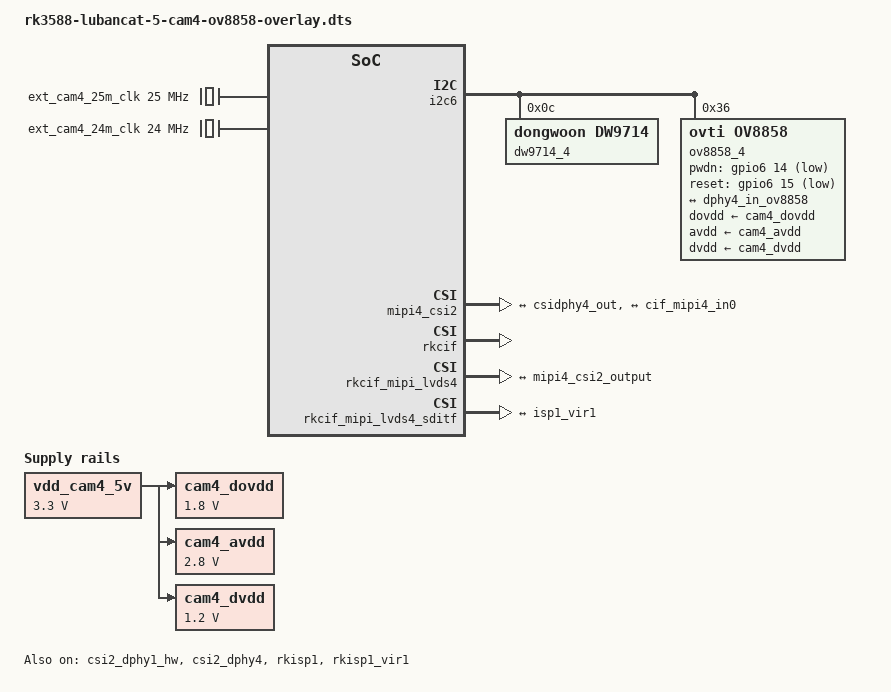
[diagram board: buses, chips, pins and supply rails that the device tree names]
/dts-v1/;
/plugin/;

#include <dt-bindings/usb/pd.h>
#include <dt-bindings/gpio/gpio.h>
#include <dt-bindings/pwm/pwm.h>
#include <dt-bindings/pinctrl/rockchip.h>
#include <dt-bindings/input/rk-input.h>
#include <dt-bindings/display/drm_mipi_dsi.h>
#include <dt-bindings/display/rockchip_vop.h>
#include <dt-bindings/sensor-dev.h>

/ {
	fragment@0 {
		target-path = "/";

		__overlay__ {
			ext_cam4_25m_clk: external-camera-25m-clock {
				compatible = "fixed-clock";
				clock-frequency = <25000000>;
				clock-output-names = "ext_cam4_25m_clk";
				#clock-cells = <0>;
			};

			ext_cam4_24m_clk: external-camera-24m-clock {
				compatible = "fixed-clock";
				#clock-cells = <0>;
				clock-frequency = <24000000>;
				clock-output-names = "ext_cam4_24m_clk";
			};

			vdd_cam4_5v: vdd-cam-5v-regulator {
				compatible = "regulator-fixed";
				regulator-name = "vdd_cam4_5v";
				regulator-always-on;
				regulator-boot-on;
				regulator-min-microvolt = <3300000>;
				regulator-max-microvolt = <3300000>;
			};

			cam4_dovdd: cam-dovdd {
				compatible = "regulator-fixed";
				regulator-name = "cam4_dovdd";
				regulator-always-on;
				regulator-boot-on;
				regulator-min-microvolt = <1800000>;
				regulator-max-microvolt = <1800000>;
				vin-supply = <&vdd_cam4_5v>;
			};

			cam4_avdd: cam-avdd {
				compatible = "regulator-fixed";
				regulator-name = "cam4_avdd";
				regulator-always-on;
				regulator-boot-on;
				regulator-min-microvolt = <2800000>;
				regulator-max-microvolt = <2800000>;
				vin-supply = <&vdd_cam4_5v>;
			};

			cam4_dvdd: cam-dvdd {
				compatible = "regulator-fixed";
				regulator-name = "cam4_dvdd";
				regulator-always-on;
				regulator-boot-on;
				regulator-min-microvolt = <1200000>;
				regulator-max-microvolt = <1200000>;
				vin-supply = <&vdd_cam4_5v>;
			};
		};
	};

/* Link path: sensor->csi2_dphy4->mipi4_csi2->rkcif_mipi_lvds4--->rkcif_mipi_lvds4_sditf->rkisp1_vir1 */
	fragment@1 {
		target = <&i2c6>;
		__overlay__ {
			status = "okay";
			pinctrl-names = "default";
			pinctrl-0 = <&i2c6m0_xfer>;
			#address-cells = <1>;
			#size-cells = <0>;

			dw9714_4: dw9714@c {
				status = "okay";
				compatible = "dongwoon,dw9714";
				reg = <0xc>;
				rockchip,camera-module-index = <0>;
				rockchip,vcm-max-current = <100>;
				rockchip,vcm-start-current = <0>;
				rockchip,vcm-rated-current = <100>;
				rockchip,vcm-step-mode = <0xd>;
				rockchip,vcm-dlc-enable = <0>;
				rockchip,vcm-mclk = <0>;	
				rockchip,vcm-t-src = <0>;
				rockchip,camera-module-facing = "back";
			};

			ov8858_4: ov8858@36 {
				compatible = "ovti,ov8858";
				status = "okay";
				reg = <0x36>;
				clocks = <&ext_cam4_24m_clk>;
				clock-names = "xvclk";
				dovdd-supply= <&cam4_dovdd>; /* 1.8v */
				avdd-supply = <&cam4_avdd>;  /* 2.8v */
				dvdd-supply = <&cam4_dvdd>;  /* 1.2v */
				pwdn-gpios = <&gpio6 14 GPIO_ACTIVE_LOW>;
				reset-gpios = <&gpio6 15 GPIO_ACTIVE_LOW>;
				rotation = <180>;

				rockchip,camera-module-index = <2>;
				rockchip,camera-module-facing = "back";
				rockchip,camera-module-name = "HS5885-BNSM1018-V01";
				rockchip,camera-module-lens-name = "default";
				lens-focus = <&dw9714_4>;

				port {
					/* MIPI CSI-2 bus endpoint */
					ov8858_out4: endpoint {
						remote-endpoint = <&dphy4_in_ov8858>;
						clock-lanes = <0>;
						data-lanes = <1 2>;
					};
				};
			};
		};
	};

	fragment@2 {
		target = <&csi2_dphy1_hw>;

		__overlay__ {
			status = "okay";
		};
	};


	fragment@3 {
		target = <&csi2_dphy4>;

		__overlay__ {
			status = "okay";
			ports {
				#address-cells = <1>;
				#size-cells = <0>;

				port@0 {
					reg = <0>;
					#address-cells = <1>;
					#size-cells = <0>;

					dphy4_in_ov8858: endpoint@2 {
						reg = <2>;
						remote-endpoint = <&ov8858_out4>;
						data-lanes = <1 2>;
					};
				};

				port@1 {
					reg = <1>;
					#address-cells = <1>;
					#size-cells = <0>;

					csidphy4_out: endpoint@0 {
						reg = <0>;
						remote-endpoint = <&mipi4_csi2_input>;
					};
				};
			};
		};
	};

	fragment@4 {
		target = <&mipi4_csi2>;

		__overlay__ {
			status = "okay";

			ports {
				#address-cells = <1>;
				#size-cells = <0>;

				port@0 {
					reg = <0>;
					#address-cells = <1>;
					#size-cells = <0>;

					mipi4_csi2_input: endpoint@1 {
						reg = <1>;
						remote-endpoint = <&csidphy4_out>;
					};
				};

				port@1 {
					reg = <1>;
					#address-cells = <1>;
					#size-cells = <0>;

					mipi4_csi2_output: endpoint@0 {
						reg = <0>;
						remote-endpoint = <&cif_mipi4_in0>;
					};
				};
			};
		};
	};

	fragment@5 {
		target = <&rkcif>;

		__overlay__ {
			status = "okay";
		};
	};

	fragment@6 {
		target = <&rkcif_mipi_lvds4>;

		__overlay__ {
			status = "okay";

			port {
				cif_mipi4_in0: endpoint {
					remote-endpoint = <&mipi4_csi2_output>;
				};
			};
		};
	};

	fragment@7 {
		target = <&rkcif_mipi_lvds4_sditf>;

		__overlay__ {
			status = "okay";

			port {
				mipi_lvds4_sditf: endpoint {
					remote-endpoint = <&isp1_vir1>;
				};
			};
		};
	};

	fragment@8 {
		target = <&rkcif_mmu>;

		__overlay__ {
			status = "okay";
		};
	};

	fragment@9 {
		target = <&rkisp1>;

		__overlay__ {
			status = "okay";
		};
	};

	fragment@10 {
		target = <&isp1_mmu>;

		__overlay__ {
			status = "okay";
		};
	};

	fragment@11 {
		target = <&rkisp1_vir1>;

		__overlay__ {
			status = "okay";

			port {
				#address-cells = <1>;
				#size-cells = <0>;

				isp1_vir1: endpoint@0 {
					reg = <0>;
					remote-endpoint = <&mipi_lvds4_sditf>;
				};
			};
		};
	};

};

